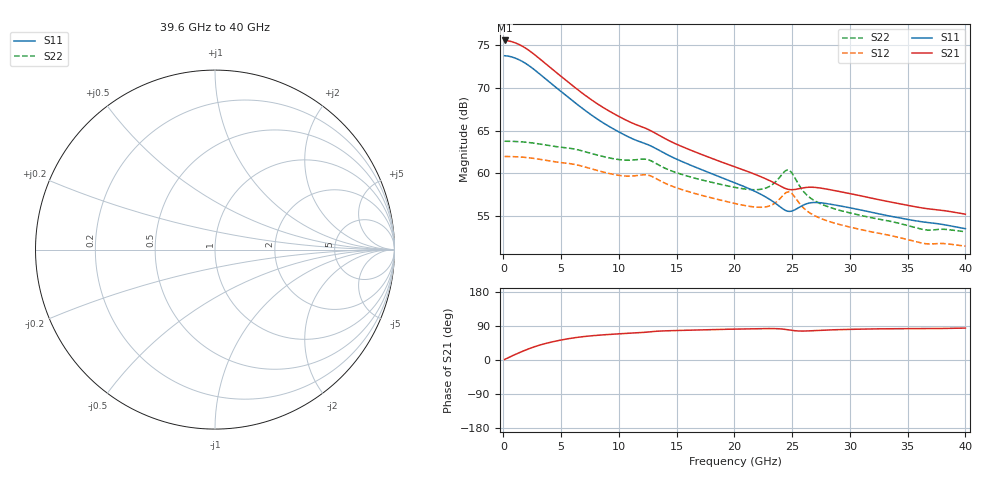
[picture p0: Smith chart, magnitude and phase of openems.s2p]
! D_s8_cap_10: L1 (ref L2 GND) → L3 (ref L4 PWR), capacitor GND–PWR at 10 mm
! stackup: 8-layer 1.6 mm FR-4 (generic)
! ports: 1, 2
! openEMS 0.37.0, staircase, fine mesh (dfine 0.0175 mm), 3375036 cells
# Hz S RI R 50
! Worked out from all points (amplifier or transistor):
!   400 points, 100 MHz to 40 GHz, reference 50 ohm
!   highest |S21| = 75.5 dB at 100 MHz (marker M1)
!   |S21| within 3 dB of that: start of sweep to 3.904 GHz
!   unconditionally stable (mu >= 1): nowhere
!   at 6.7 GHz: K = 5.50, MSG = 4.3 dB, |S12| = 60.9 dB
!   at 20.1 GHz: K = -0.10, MSG = 2.1 dB, |S12| = 56.5 dB
!   at 40 GHz: K = -0.89, MSG = 1.9 dB, |S12| = 51.5 dB
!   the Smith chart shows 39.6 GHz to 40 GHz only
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1e8  -4858 -124.6  5966 153.2  1255 9.937  -1540 -12.13
7e8  -4710 -843.2  5784 1037  1251 69.71  -1536 -85.03
1.5e9  -4249 -1631  5216 2006  1237 149.2  -1518 -181.7
2.1e9  -3784 -2050  4643 2519  1218 206.6  -1495 -251.4
2.7e9  -3288 -2309  4033 2834  1193 259.6  -1465 -315.8
3.5e9  -2678 -2447  3285 3003  1153 320.6  -1417 -390.5
4.6e9  -2013 -2428  2468 2978  1098 385.8  -1352 -472.4
5.7e9  -1512 -2295  1855 2812  1047 454  -1288 -556.9
6.8e9  -1152 -2111  1418 2585  974.1 515.2  -1198 -629.7
7.9e9  -904.2 -1923  1118 2357  896.4 545.4  -1106 -665.9
9.2e9  -709.1 -1731  878.6 2126  824 560.2  -1020 -686.2
1.2e10  -461 -1443  561.6 1781  749.6 631.1  -922 -786
1.34e10  -332.6 -1332  402 1628  613 682.7  -747.9 -837.9
1.6e10  -215.1 -1111  273.4 1357  477.4 620.6  -591.4 -757.5
2.01e10  -112.8 -869.6  159.7 1076  373.4 550.9  -476 -675.9
2.32e10  -69.55 -691.3  110 890.7  389.7 522.7  -524.1 -672
2.42e10  -92.63 -613.4  122 819.1  420 613.2  -549.5 -837.5
2.48e10  -139.9 -583.4  153.5 788.8  331.5 702.6  -381.9 -962.1
2.55e10  -191.2 -597.4  187.6 789.4  201.3 655.7  -186.7 -854.9
2.67e10  -191.3 -647  183.2 809.7  163.3 554.3  -157.5 -690.9
3.34e10  -85.29 -557.5  89.54 676.8  126.7 416.4  -143.9 -506.6
4e10  -49.96 -472.7  57.87 574.9  108.4 359.9  -129.4 -437.7
